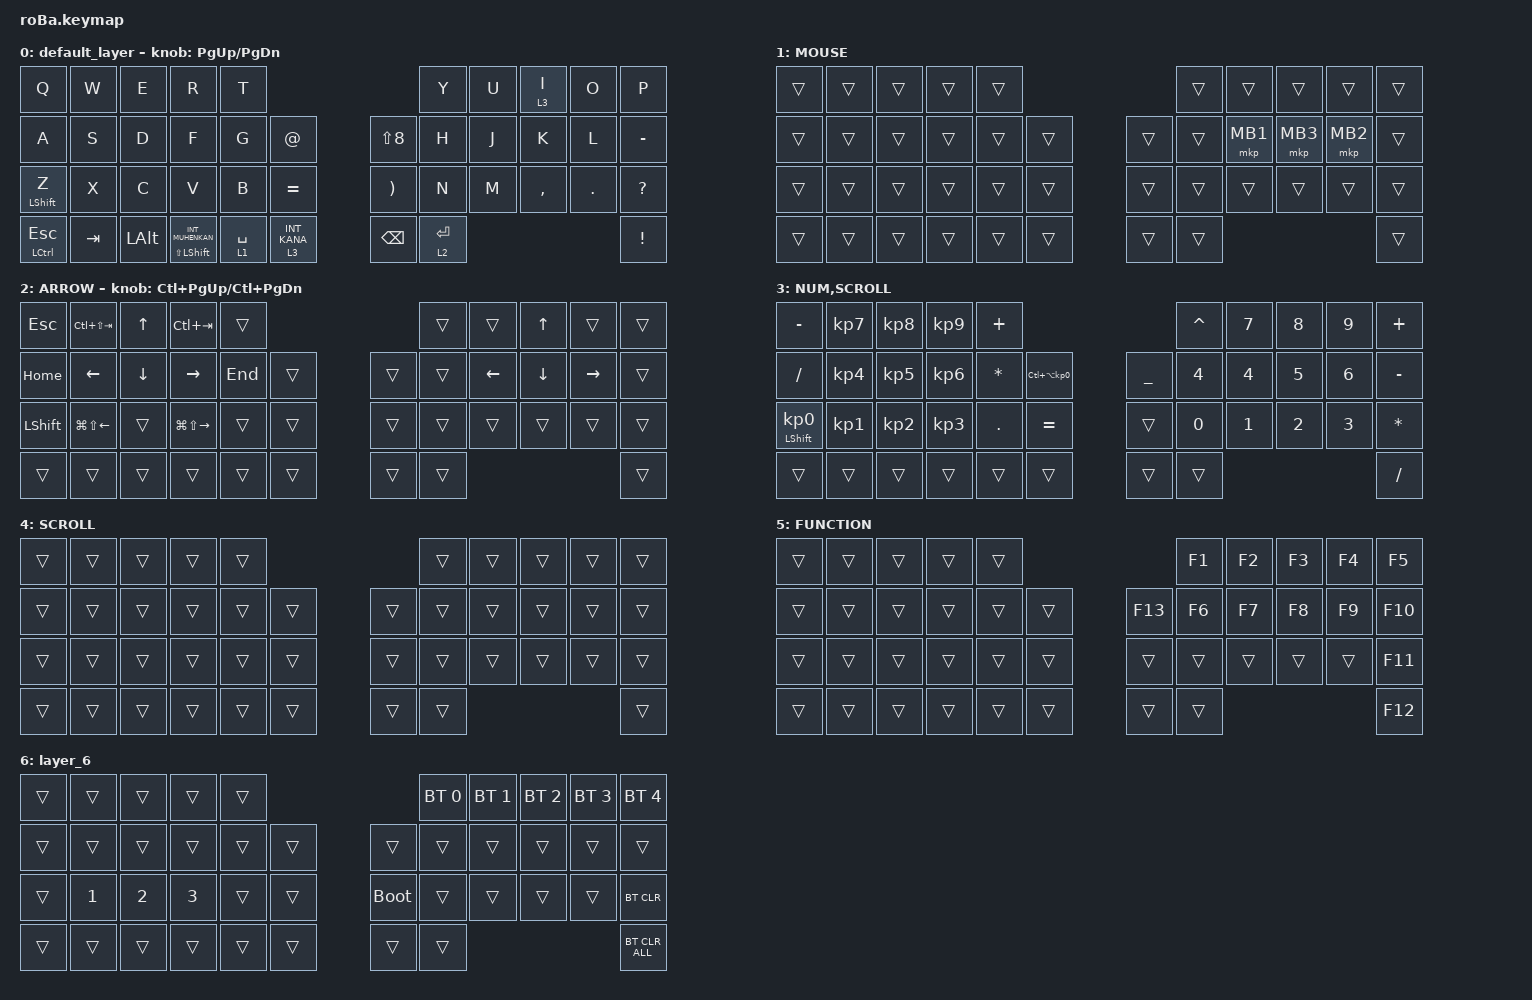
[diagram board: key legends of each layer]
#include <behaviors.dtsi>
#include <dt-bindings/zmk/bt.h>
#include <dt-bindings/zmk/keys.h>
#include <dt-bindings/zmk/pointing.h>

&mt {
    flavor = "balanced";
    quick-tap-ms = <0>;
};

&trackball {
    automouse-layer = <1>;
    scroll-layers = <3>;

    // arrows {
    //     layers = <3>;
    //     bindings =
    //         <&kp RIGHT_ARROW>,
    //         <&kp LEFT_ARROW>,
    //         <&kp UP_ARROW>,
    //         <&kp DOWN_ARROW>;
    //     tick = <10>;
    //     wait-ms = <5>;
    //     tap-ms = <5>;
    // };
};

/ {
    combos {
        compatible = "zmk,combos";

        tab {
            bindings = <&kp TAB>;
            key-positions = <11 12>;
        };

        shift_tab {
            bindings = <&kp LS(TAB)>;
            key-positions = <12 13>;
        };

        muhennkann {
            bindings = <&to_layer_0 INT_MUHENKAN>;
            key-positions = <11 10>;
        };

        eq {
            bindings = <&kp EQUAL>;
            key-positions = <24 25>;
        };

        copy {
            bindings = <&kp LC(C)>;
            key-positions = <18 19>;
        };

        paste {
            bindings = <&kp LC(V)>;
            key-positions = <20 19>;
        };

        cut {
            bindings = <&kp LC(LS(V))>;
            key-positions = <18 20>;
        };

        cut2 {
            bindings = <&kp LC(X)>;
            key-positions = <17 18>;
        };
    };

    macros {
        to_layer_0: to_layer_0 {
            compatible = "zmk,behavior-macro-one-param";
            #binding-cells = <1>;
            bindings = <&to 0 &macro_param_1to1 &kp MACRO_PLACEHOLDER>;
            label = "TO_LAYER_0";
        };
    };

    behaviors {
        lt_to_layer_0: lt_to_layer_0 {
            compatible = "zmk,behavior-hold-tap";
            label = "LAYER_TAP_TO_0";
            bindings = <&mo>, <&to_layer_0>;

            #binding-cells = <2>;
            tapping-term-ms = <200>;
        };
    };

    keymap {
        compatible = "zmk,keymap";

        default_layer {
            bindings = <
&kp Q             &kp W    &kp E         &kp R                            &kp T                                                              &kp Y        &kp U  &lt 3 I    &kp O    &kp P
&kp A             &kp S    &kp D         &kp F                            &kp G        &kp AT_SIGN                    &kp LS(N8)             &kp H        &kp J  &kp K      &kp L    &kp MINUS
&mt LEFT_SHIFT Z  &kp X    &kp C         &kp V                            &kp B        &kp EQUAL                      &kp RIGHT_PARENTHESIS  &kp N        &kp M  &kp COMMA  &kp DOT  &kp QUESTION
&mt LCTRL ESCAPE  &kp TAB  &kp LEFT_ALT  &mt LS(LEFT_SHIFT) INT_MUHENKAN  &lt 1 SPACE  &lt_to_layer_0 3 INT_KANA      &kp BACKSPACE          &lt 2 ENTER                             &kp EXCLAMATION
            >;

            sensor-bindings = <&inc_dec_kp PG_UP PAGE_DOWN>;
        };

        MOUSE {
            bindings = <
&trans  &trans  &trans  &trans  &trans                      &trans  &trans    &trans    &trans    &trans
&trans  &trans  &trans  &trans  &trans  &trans      &trans  &trans  &mkp MB1  &mkp MB3  &mkp MB2  &trans
&trans  &trans  &trans  &trans  &trans  &trans      &trans  &trans  &trans    &trans    &trans    &trans
&trans  &trans  &trans  &trans  &trans  &trans      &trans  &trans                                &trans
            >;
        };

        ARROW {
            bindings = <
&kp ESCAPE      &kp LC(LS(TAB))         &kp UP_ARROW    &kp LC(TAB)              &trans                       &trans  &trans    &kp UP_ARROW  &trans     &trans
&kp HOME        &kp LEFT_ARROW          &kp DOWN_ARROW  &kp RIGHT_ARROW          &kp END  &trans      &trans  &trans  &kp LEFT  &kp DOWN      &kp RIGHT  &trans
&kp LEFT_SHIFT  &kp LG(LS(LEFT_ARROW))  &trans          &kp LG(LS(RIGHT_ARROW))  &trans   &trans      &trans  &trans  &trans    &trans        &trans     &trans
&trans          &trans                  &trans          &trans                   &trans   &trans      &trans  &trans                                     &trans
            >;

            sensor-bindings = <&inc_dec_kp LC(PAGE_UP) LC(PAGE_DOWN)>;
        };

        NUM,SCROLL {
            bindings = <
&kp MINUS                   &kp KP_NUMBER_7  &kp KP_NUMBER_8  &kp KP_NUMBER_9  &kp PLUS                                                   &kp CARET     &kp NUMBER_7  &kp NUMBER_8  &kp NUMBER_9  &kp PLUS
&kp SLASH                   &kp KP_NUMBER_4  &kp KP_NUMBER_5  &kp KP_NUMBER_6  &kp ASTERISK  &kp LC(LA(KP_NUMBER_0))      &kp UNDERSCORE  &kp NUMBER_4  &kp NUMBER_4  &kp NUMBER_5  &kp NUMBER_6  &kp MINUS
&mt LEFT_SHIFT KP_NUMBER_0  &kp KP_NUMBER_1  &kp KP_NUMBER_2  &kp KP_NUMBER_3  &kp PERIOD    &kp EQUAL                    &trans          &kp NUMBER_0  &kp NUMBER_1  &kp NUMBER_2  &kp NUMBER_3  &kp ASTERISK
&trans                      &trans           &trans           &trans           &trans        &trans                       &trans          &trans                                                  &kp SLASH
            >;
        };

        SCROLL {
            bindings = <
&trans  &trans  &trans  &trans  &trans                      &trans  &trans  &trans  &trans  &trans
&trans  &trans  &trans  &trans  &trans  &trans      &trans  &trans  &trans  &trans  &trans  &trans
&trans  &trans  &trans  &trans  &trans  &trans      &trans  &trans  &trans  &trans  &trans  &trans
&trans  &trans  &trans  &trans  &trans  &trans      &trans  &trans                          &trans
            >;
        };

        FUNCTION {
            bindings = <
&trans  &trans  &trans  &trans  &trans                       &kp F1  &kp F2  &kp F3  &kp F4  &kp F5
&trans  &trans  &trans  &trans  &trans  &trans      &kp F13  &kp F6  &kp F7  &kp F8  &kp F9  &kp F10
&trans  &trans  &trans  &trans  &trans  &trans      &trans   &trans  &trans  &trans  &trans  &kp F11
&trans  &trans  &trans  &trans  &trans  &trans      &trans   &trans                          &kp F12
            >;
        };

        layer_6 {
            bindings = <
&trans  &trans        &trans        &trans        &trans                           &bt BT_SEL 0  &bt BT_SEL 1  &bt BT_SEL 2  &bt BT_SEL 3  &bt BT_SEL 4
&trans  &trans        &trans        &trans        &trans  &trans      &trans       &trans        &trans        &trans        &trans        &trans
&trans  &kp NUMBER_1  &kp NUMBER_2  &kp NUMBER_3  &trans  &trans      &bootloader  &trans        &trans        &trans        &trans        &bt BT_CLR
&trans  &trans        &trans        &trans        &trans  &trans      &trans       &trans                                                  &bt BT_CLR_ALL
            >;
        };
    };
};
